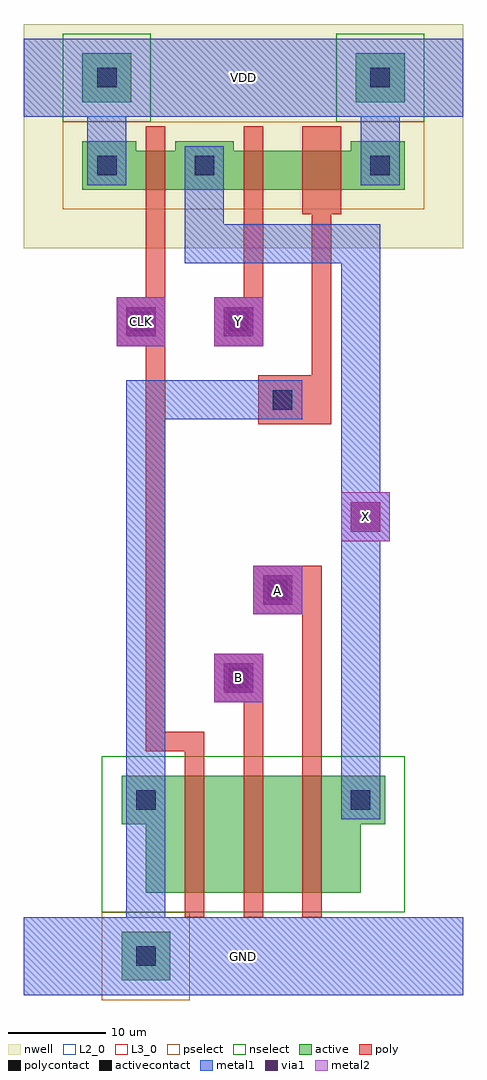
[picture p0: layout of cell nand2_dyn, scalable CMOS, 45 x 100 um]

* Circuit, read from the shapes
.subckt nand2_dyn A B CLK GND VDD X Y
M1 n1 CLK GND GND nfet w=12u l=2u
M2 n2 B n1 GND nfet w=12u l=2u
M3 X A n2 GND nfet w=12u l=2u
M4 X CLK VDD VDD pfet w=4u l=2u
M5 n3 Y X VDD pfet w=4u l=2u
M6 VDD GND n3 VDD pfet w=4u l=4u
.ends

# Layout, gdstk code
import gdstk
lib = gdstk.Library(unit=1e-6, precision=1e-09)
def R(c, l, rs):  # rectangles x0, y0, x1, y1
    for r in rs: c.add(gdstk.rectangle(r[:2], r[2:], *l))
def A(c, l, x, y, w, h, nx, ny, dx, dy):  # array of equal rectangles
    R(c, l, [(x+i*dx, y+j*dy, x+i*dx+w, y+j*dy+h) for i in range(nx) for j in range(ny)])
def P(c, l, *ps):  # polygons
    for p in ps: c.add(gdstk.Polygon(p, *l))
L2_0 = (2, 0)
L3_0 = (3, 0)
nwell = (42, 0)
active = (43, 0)
pselect = (44, 0)
nselect = (45, 0)
poly = (46, 0)
polycontact = (47, 0)
activecontact = (48, 0)
metal1 = (49, 0)
via1 = (50, 0)
metal2 = (51, 0)

nand2_dyn = lib.new_cell('nand2_dyn')
R(nand2_dyn, L2_0, [(0,-99.5,45,-91.5), (0,-9.5,45,-1.5)])
R(nand2_dyn, L3_0, [(19.5,-69.5,24.5,-64.5), (23.5,-60.5,28.5,-55.5), (32.5,-53,37.5,-48), (9.5,-33,14.5,-28), (19.5,-33,24.5,-28)])
R(nand2_dyn, nwell, [(0,-23,45,0)])
R(nand2_dyn, active, [(10,-98,15,-93), (6,-8,11,-3), (34,-8,39,-3)])
P(nand2_dyn, active, [(6,-17),(39,-17),(39,-12),(33.5,-12),(33.5,-13),(21.5,-13),(21.5,-12),(15.5,-12),(15.5,-13),(11.5,-13),(11.5,-12),(6,-12)],
  [(10,-82),(12.5,-82),(12.5,-89),(34.5,-89),(34.5,-82),(37,-82),(37,-77),(10,-77)])
R(nand2_dyn, pselect, [(8,-100,17,-91), (4,-19,41,-10)])
R(nand2_dyn, nselect, [(8,-91,39,-75), (4,-10,13,-1), (32,-10,41,-1)])
A(nand2_dyn, poly, 16.5, -91.5, 2, 17, 3, 1, 6, 0)
R(nand2_dyn, poly, [(19.5,-69.5,24.5,-64.5), (23.5,-60.5,28.5,-55.5), (24,-41,29.5,-36), (9.5,-33,14.5,-28), (19.5,-33,24.5,-28), (12.5,-19.5,14.5,-10.5), (22.5,-19.5,24.5,-10.5), (28.5,-19.5,32.5,-10.5)])
R(nand2_dyn, polycontact, [(21,-68,23,-66), (25,-59,27,-57), (25.5,-39.5,27.5,-37.5), (11,-31.5,13,-29.5), (21,-31.5,23,-29.5)])
R(nand2_dyn, activecontact, [(11.5,-96.5,13.5,-94.5), (11.5,-80.5,13.5,-78.5), (33.5,-80.5,35.5,-78.5), (7.5,-15.5,9.5,-13.5), (17.5,-15.5,19.5,-13.5), (35.5,-15.5,37.5,-13.5), (7.5,-6.5,9.5,-4.5), (35.5,-6.5,37.5,-4.5)])
R(nand2_dyn, metal1, [(0,-99.5,45,-91.5), (10.5,-97.5,14.5,-93.5), (10.5,-81.5,14.5,-77.5), (32.5,-81.5,36.5,-77.5), (19.5,-69.5,24.5,-64.5), (23.5,-60.5,28.5,-55.5), (32.5,-53,37.5,-48), (24.5,-40.5,28.5,-36.5), (9.5,-33,14.5,-28), (19.5,-33,24.5,-28), (16.5,-24.5,36.5,-20.5), (6.5,-16.5,10.5,-12.5), (16.5,-16.5,20.5,-12.5), (34.5,-16.5,38.5,-12.5), (0,-9.5,45,-1.5), (6.5,-7.5,10.5,-3.5), (34.5,-7.5,38.5,-3.5)])
R(nand2_dyn, via1, [(20.5,-68.5,23.5,-65.5), (24.5,-59.5,27.5,-56.5), (33.5,-52,36.5,-49), (10.5,-32,13.5,-29), (20.5,-32,23.5,-29)])
R(nand2_dyn, metal2, [(19.5,-69.5,24.5,-64.5), (23.5,-60.5,28.5,-55.5), (32.5,-53,37.5,-48), (9.5,-33,14.5,-28), (19.5,-33,24.5,-28)])
nand2_dyn.add(gdstk.FlexPath([(29.5,-74.5),(29.5,-55.5)], 2, ends="flush", simple_path=True, layer=46, datatype=0))  # poly
nand2_dyn.add(gdstk.FlexPath([(13.5,-19.5),(13.5,-28)], 2, ends="flush", simple_path=True, layer=46, datatype=0))  # poly
nand2_dyn.add(gdstk.FlexPath([(17.5,-74.5),(17.5,-73.5),(13.5,-73.5),(13.5,-33)], 2, ends="flush", simple_path=True, layer=46, datatype=0))  # poly
nand2_dyn.add(gdstk.FlexPath([(30.5,-19.5),(30.5,-41)], 2, ends="flush", simple_path=True, layer=46, datatype=0))  # poly
nand2_dyn.add(gdstk.FlexPath([(23.5,-19.5),(23.5,-28)], 2, ends="flush", simple_path=True, layer=46, datatype=0))  # poly
nand2_dyn.add(gdstk.FlexPath([(23.5,-74.5),(23.5,-69.5)], 2, ends="flush", simple_path=True, layer=46, datatype=0))  # poly
nand2_dyn.add(gdstk.FlexPath([(34.5,-48),(34.5,-24.5)], 4, ends="flush", simple_path=True, layer=49, datatype=0))  # metal1
nand2_dyn.add(gdstk.FlexPath([(36.5,-12.5),(36.5,-7.5)], 4, ends="flush", simple_path=True, layer=49, datatype=0))  # metal1
nand2_dyn.add(gdstk.FlexPath([(18.5,-16.5),(18.5,-20.5)], 4, ends="flush", simple_path=True, layer=49, datatype=0))  # metal1
nand2_dyn.add(gdstk.FlexPath([(24.5,-38.5),(10.5,-38.5)], 4, ends="flush", simple_path=True, layer=49, datatype=0))  # metal1
nand2_dyn.add(gdstk.FlexPath([(12.5,-77.5),(12.5,-40.5)], 4, ends="flush", simple_path=True, layer=49, datatype=0))  # metal1
nand2_dyn.add(gdstk.FlexPath([(8.5,-12.5),(8.5,-7.5)], 4, ends="flush", simple_path=True, layer=49, datatype=0))  # metal1
nand2_dyn.add(gdstk.FlexPath([(12.5,-81.5),(12.5,-93.5)], 4, ends="flush", simple_path=True, layer=49, datatype=0))  # metal1
nand2_dyn.add(gdstk.FlexPath([(34.5,-77.5),(34.5,-53)], 4, ends="flush", simple_path=True, layer=49, datatype=0))  # metal1
nand2_dyn.add(gdstk.Label('CLK', (12,-30.5), layer=3, texttype=0))
nand2_dyn.add(gdstk.Label('Y', (22,-30.5), layer=3, texttype=0))
nand2_dyn.add(gdstk.Label('A', (26,-58), layer=3, texttype=0))
nand2_dyn.add(gdstk.Label('B', (22,-67), layer=3, texttype=0))
nand2_dyn.add(gdstk.Label('X', (35,-50.5), layer=3, texttype=0))
nand2_dyn.add(gdstk.Label('VDD', (22.5,-5.5), layer=2, texttype=0))
nand2_dyn.add(gdstk.Label('GND', (22.5,-95.5), layer=2, texttype=0))

lib.write_gds('nand2_dyn.gds')
